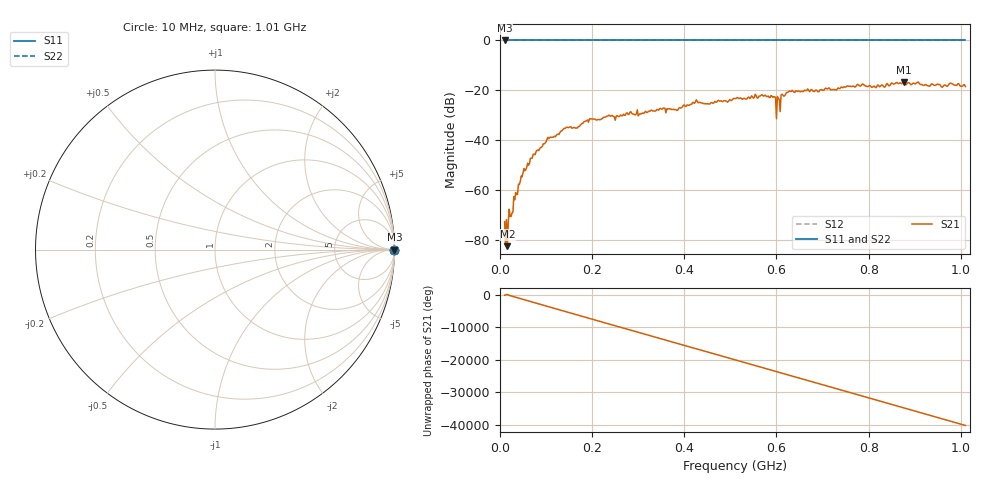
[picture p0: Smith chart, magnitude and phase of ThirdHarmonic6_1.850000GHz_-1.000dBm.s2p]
! 8/16/2025 10:23:16 PM
! C:\ANRITSUVNA\TEMP\TEMP.S2P
! CHANNEL.1
! TR.MEASUREMENT
! RAW.DATA
! RF.CORRECTION.OFF
! AVERAGING.OFF
! IF.BANDWIDTH: 5KHZ
! SWEEPTYPE:  FREQ.SWEEP(Linear)
! Reference Plane Port Info
! PORT:  PORT1  PORT2
! DISTANCE:  0  m  0  m
! TIME:  0  s  0  s
! PHASE.OFFSET:  0  deg.  0  deg.
! LOSS:  0  dB  0  dB
! REF.LOSS:  0  dB  0  dB
! REF.FREQ:  0  Hz  0  Hz
! Power Info
! POWER:  -20  dBm  -20  dBm
! EFF.POWER:  -20  dBm  -20  dBm
! SOURCE.ATTEN:  0  dB  0  dB
! TEST.ATTEN:  0  dB  0  dB
# GHZ S RI R 50.0
! FREQ.GHZ  S11RE  S11IM  S21RE  S21IM  S12RE  S12IM  S22RE  S22IM
!; PortSelection: Port_12
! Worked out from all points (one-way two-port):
!   501 points, 10 MHz to 1.01 GHz, reference 50 ohm
!   highest |S21| = -16.60 dB at 876 MHz (marker M1); lowest = -82.4 dB at 16 MHz (marker M2)
!   lowest |S11| = 0.0 dB at 10 MHz (marker M3)
!   |S11| at or under -10 dB: nowhere
!   |S22| runs from 0.0 to 0.0 dB; largest |S21 - S12| = 1.1
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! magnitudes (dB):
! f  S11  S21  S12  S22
! 10 MHz  0.0  -72.6  0.0  0.0
! 12 MHz  0.0  -82.1  0.0  0.0
! 16 MHz  0.0  -82.4  0.0  0.0
! 48 MHz  0.0  -54.6  0.0  0.0
! 70 MHz  0.0  -47.1  0.0  0.0
! 106 MHz  0.0  -39.3  0.0  0.0
! 142 MHz  0.0  -35.2  0.0  0.0
! 178 MHz  0.0  -33.3  0.0  0.0
! 198 MHz  0.0  -31.4  0.0  0.0
! 344 MHz  0.0  -27.9  0.0  0.0
! 382 MHz  0.0  -27.7  0.0  0.0
! 424 MHz  0.0  -24.6  0.0  0.0
! 452 MHz  0.0  -25.4  0.0  0.0
! 510 MHz  0.0  -23.3  0.0  0.0
! 592 MHz  0.0  -22.8  0.0  0.0
! 604 MHz  0.0  -23.3  0.0  0.0
! 614 MHz  0.0  -21.9  0.0  0.0
! 626 MHz  0.0  -20.6  0.0  0.0
! 678 MHz  0.0  -20.0  0.0  0.0
! 844 MHz  0.0  -18.2  0.0  0.0
! 876 MHz  0.0  -16.6  0.0  0.0
! 1.01 GHz  0.0  -18.4  0.0  0.0
